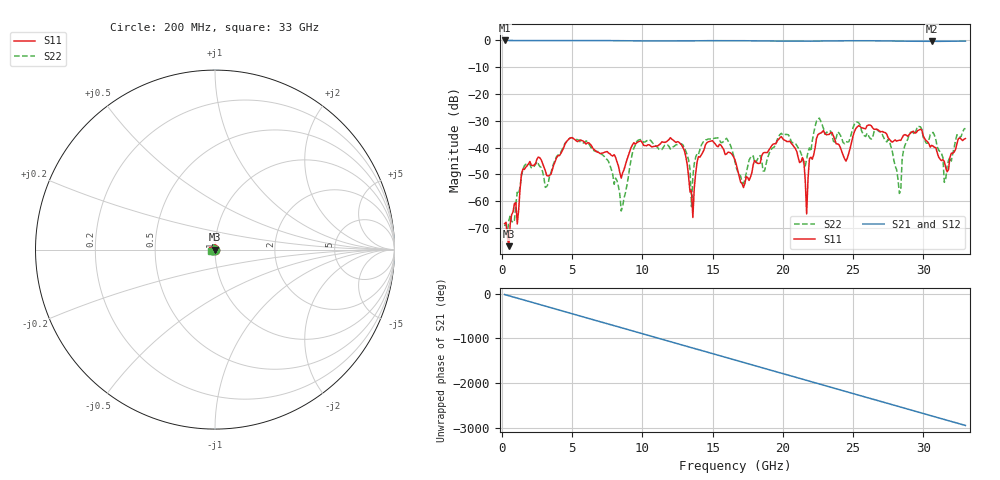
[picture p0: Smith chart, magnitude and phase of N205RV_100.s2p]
# GHZ S RI R 50
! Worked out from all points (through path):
!   329 points, 200 MHz to 33 GHz, reference 50 ohm
!   highest |S21| = -0.02 dB at 200 MHz (marker M1); lowest = -0.4 dB at 30.6 GHz (marker M2)
!   group delay of S21, straight-line fit = 248 ps
!   lowest |S11| = -76.8 dB at 500 MHz (marker M3), VSWR 1.00, Z = 50 - j0.00349 ohm
!   |S11| at or under -10 dB: start of sweep to end of sweep
!   |S22| runs from -71.9 to -29.0 dB; largest |S21 - S12| = 0.0019
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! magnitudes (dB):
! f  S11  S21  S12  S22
! 200 MHz  -68.4  0.0  0.0  -69.3
! 500 MHz  -76.8  0.0  0.0  -67.3
! 1.5 GHz  -48.1  -0.1  -0.1  -48.2
! 5.7 GHz  -37.4  -0.1  -0.1  -38.3
! 8.5 GHz  -51.4  -0.1  -0.1  -63.7
! 9.6 GHz  -38.2  -0.2  -0.2  -37.8
! 11.2 GHz  -39.0  -0.2  -0.2  -40.7
! 13 GHz  -41.2  -0.2  -0.2  -40.1
! 13.5 GHz  -56.1  -0.2  -0.2  -62.0
! 13.6 GHz  -66.1  -0.2  -0.2  -50.9
! 14.6 GHz  -38.2  -0.1  -0.1  -37.1
! 16.6 GHz  -44.7  -0.1  -0.1  -45.3
! 20.5 GHz  -37.6  -0.3  -0.3  -36.1
! 21.5 GHz  -45.1  -0.3  -0.3  -46.1
! 21.7 GHz  -64.8  -0.3  -0.3  -44.3
! 22.1 GHz  -44.4  -0.3  -0.3  -37.5
! 27.6 GHz  -37.0  -0.2  -0.2  -37.8
! 28.3 GHz  -37.2  -0.3  -0.3  -57.1
! 29 GHz  -35.1  -0.3  -0.3  -35.1
! 30.6 GHz  -39.2  -0.4  -0.4  -34.7
! 31.5 GHz  -45.2  -0.4  -0.4  -53.0
! 33 GHz  -36.6  -0.3  -0.3  -32.8
